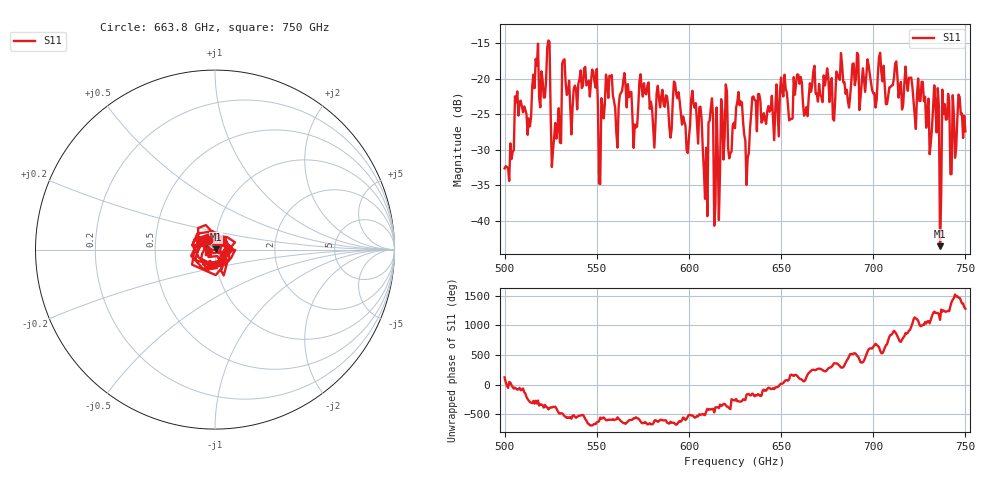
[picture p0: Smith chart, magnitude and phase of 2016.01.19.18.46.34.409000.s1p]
!Created with skrf (http://scikit-rf.org).
# GHz S RI R 50.0
!freq ReS11 ImS11
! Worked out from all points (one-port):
!   401 points, 500 GHz to 750 GHz, reference 50 ohm
!   lowest |S11| = -43.6 dB at 736.2 GHz (marker M1), VSWR 1.01, Z = 50.6 + j0.16 ohm
!   |S11| at or under -10 dB: start of sweep to end of sweep
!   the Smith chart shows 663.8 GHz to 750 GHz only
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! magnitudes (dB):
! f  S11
! 500 GHz  -32.6
! 506.9 GHz  -21.8
! 513.1 GHz  -25.6
! 516.9 GHz  -17.2
! 523.8 GHz  -14.6
! 526.9 GHz  -28.3
! 531.2 GHz  -17.8
! 548.8 GHz  -20.4
! 552.5 GHz  -22.7
! 556.2 GHz  -22.7
! 562.5 GHz  -22.3
! 593.8 GHz  -22.7
! 599.4 GHz  -30.4
! 602.5 GHz  -23.5
! 608.8 GHz  -36.9
! 611.9 GHz  -24.1
! 615 GHz  -24.0
! 618.8 GHz  -31.4
! 625 GHz  -27.0
! 631.2 GHz  -34.9
! 635 GHz  -22.5
! 656.2 GHz  -25.6
! 687.5 GHz  -22.4
! 718.8 GHz  -21.7
! 734.4 GHz  -27.5
! 736.2 GHz  -43.6
! 740 GHz  -25.7
! 750 GHz  -27.4
